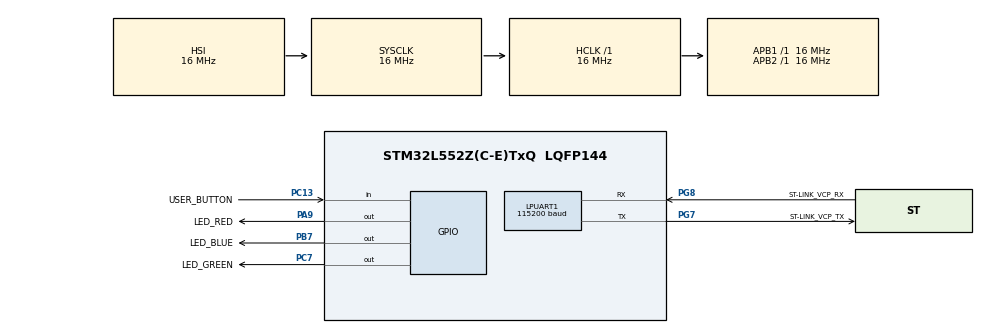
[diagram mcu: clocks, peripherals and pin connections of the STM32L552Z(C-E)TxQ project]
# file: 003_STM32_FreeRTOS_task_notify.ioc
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LPUART1.BaudRate=115200
Mcu.Family=STM32L5
Mcu.Name=STM32L552Z(C-E)TxQ
Mcu.Package=LQFP144
Mcu.TrustZone=disable
NVIC.PriorityGroup=NVIC_PRIORITYGROUP_3
PA13\ (JTMS/SWDIO).Mode=Trace_Asynchronous_SW
PA13\ (JTMS/SWDIO).Signal=DEBUG_JTMS-SWDIO
PA14\ (JTCK/SWCLK).Mode=Trace_Asynchronous_SW
PA14\ (JTCK/SWCLK).Signal=DEBUG_JTCK-SWCLK
PA9.GPIO_Label=LED_RED
PA9.Signal=GPIO_Output
PB3\ (JTDO/TRACESWO).Mode=Trace_Asynchronous_SW
PB3\ (JTDO/TRACESWO).Signal=DEBUG_JTDO-SWO
PB7.GPIO_Label=LED_BLUE
PB7.Signal=GPIO_Output
PC13.GPIO_Label=USER_BUTTON
PC13.Signal=GPIO_Input
PC14-OSC32_IN\ (PC14).Mode=LSE-External-Oscillator
PC14-OSC32_IN\ (PC14).Signal=RCC_OSC32_IN
PC15-OSC32_OUT\ (PC15).Mode=LSE-External-Oscillator
PC15-OSC32_OUT\ (PC15).Signal=RCC_OSC32_OUT
PC7.GPIO_Label=LED_GREEN
PC7.Signal=GPIO_Output
PG7.GPIO_Label=ST-LINK_VCP_TX
PG7.Mode=Asynchronous
PG7.Signal=LPUART1_TX
PG8.GPIO_Label=ST-LINK_VCP_RX
PG8.Mode=Asynchronous
PG8.Signal=LPUART1_RX
ProjectManager.HeapSize=0x200
ProjectManager.StackSize=0x400
ProjectManager.TargetToolchain=STM32CubeIDE
RCC.ADCCLockSelection=RCC_ADCCLKSOURCE_SYSCLK
RCC.ADCFreq_Value=16000000
RCC.AHBFreq_Value=16000000
RCC.APB1Freq_Value=16000000
RCC.APB1TimFreq_Value=16000000
RCC.APB2Freq_Value=16000000
RCC.APB2TimFreq_Value=16000000
RCC.CK48CLockSelection=RCC_USBCLKSOURCE_HSI48
RCC.CortexFreq_Value=16000000
RCC.HCLKFreq_Value=16000000
RCC.HSE_VALUE=8000000
RCC.HSI48_VALUE=48000000
RCC.HSI_VALUE=16000000
RCC.MSI_VALUE=4000000
RCC.PLLN=55
RCC.PLLSAI1N=24
RCC.RTCClockSelection=RCC_RTCCLKSOURCE_LSE
RCC.SYSCLKFreq_VALUE=16000000
RCC.SYSCLKSource=RCC_SYSCLKSOURCE_HSI
RCC.USBFreq_Value=48000000
RCC.VCOOutputFreq_Value=220000000
VP_PWR_VS_SECSignals.Mode=Security/Privilege
board=NUCLEO-L552ZE-Q

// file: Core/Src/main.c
/* USER CODE BEGIN Header */
/**
 ******************************************************************************
 * @file           : main.c
 * @brief          : Example 003: Led and button with task notifications
 *                   for NUCLEO-L552.
 *
 * @details TODO
 ******************************************************************************
 * @attention
 *
 * <h2><center>&copy; Copyright 2021 Leandro Medus.
 * All rights reserved.</center></h2>
 *
 * Permission is hereby granted, free of charge, to any person obtaining a copy
 * of this software and associated documentation files (the "Software"), to deal
 * in the Software without restriction, including without limitation the rights
 * to use, copy, modify, merge, publish, distribute, sublicense, and/or sell
 * copies of the Software, and to permit persons to whom the Software is
 * furnished to do so, subject to the following conditions:
 *
 * The above copyright notice and this permission notice shall be included in all
 * copies or substantial portions of the Software.
 *
 * THE SOFTWARE IS PROVIDED "AS IS", WITHOUT WARRANTY OF ANY KIND, EXPRESS OR
 * IMPLIED, INCLUDING BUT NOT LIMITED TO THE WARRANTIES OF MERCHANTABILITY,
 * FITNESS FOR A PARTICULAR PURPOSE AND NONINFRINGEMENT. IN NO EVENT SHALL THE
 * AUTHORS OR COPYRIGHT HOLDERS BE LIABLE FOR ANY CLAIM, DAMAGES OR OTHER
 * LIABILITY, WHETHER IN AN ACTION OF CONTRACT, TORT OR OTHERWISE, ARISING FROM,
 * OUT OF OR IN CONNECTION WITH THE SOFTWARE OR THE USE OR OTHER DEALINGS IN THE
 * SOFTWARE.
 *
 ******************************************************************************
 */

/*
 * Other useful functions:
 *
 *      SEGGER_SYSVIEW_PrintfTarget("Task-1 is yielding");
 *      snprintf(msg, 100, "%s\n", (char*)parameters);
 *      sendString(msg);
 *      traceISR_EXIT_TO_SCHEDULER();
 *      taskYIELD();

 * */

/* USER CODE END Header */
#include "main.h"

/* USER CODE BEGIN Includes */
#include "FreeRTOS.h"
#include "task.h"
#include <stdio.h>
#include <string.h>

#include <stdbool.h>
/* USER CODE END Includes */

/* USER CODE BEGIN PTD */
//#define TRUE                1
//#define FALSE               0

#define AVAILABLE           true
#define NOT_AVAILABLE       false

#define PRESSED             true
#define NOT_PRESSED         false

#define DEBOUNCE_DELAY_MS   10

#define DWT_CTRL    (*(volatile uint32_t*)0xE0001000)       /* Data Watchpoint and Trace Unit */
/* USER CODE END PTD */

UART_HandleTypeDef hlpuart1;

/* USER CODE BEGIN PV */
TaskHandle_t xTask_led_handle;
char usr_msg[250];
uint8_t UART_ACCESS_KEY = AVAILABLE;

uint8_t button_status_flag = NOT_PRESSED;
/* USER CODE END PV */

void SystemClock_Config(void);
static void MX_GPIO_Init(void);
static void MX_LPUART1_UART_Init(void);
/* USER CODE BEGIN PFP */
void sendString(char *msg);
void rtos_delay_ms(uint32_t delay_in_ms);
void rtos_delay_us(uint32_t delay_in_us);

static void vtask_led_handler(void* parameters);
static void vtask_button_handler(void* parameters);
/* USER CODE END PFP */

int main(void)
{
    /* USER CODE BEGIN 1 */
    BaseType_t status;

    char msg_program_init [] = "[info] ---- Example 003: Led and button with task notifications ----\r\n";

    /* USER CODE END 1 */

    /* MCU Configuration--------------------------------------------------------*/

    /* Reset of all peripherals, Initializes the Flash interface and the Systick. */
    HAL_Init();

    /* Configure the system clock */
    SystemClock_Config();

    /* Initialize all configured peripherals */
    MX_GPIO_Init();
    MX_LPUART1_UART_Init();
    /* USER CODE BEGIN 2 */

    DWT_CTRL |= ( 1 << 0);                  //Enable the CYCCNT counter. (to maintain time stamps in Segger)

    sendString(msg_program_init);

    SEGGER_SYSVIEW_Conf();

    SEGGER_SYSVIEW_Start();                 // Start recording with SEGGER

    status = xTaskCreate(
            vtask_led_handler,               // name of the task handler
            "LED-TASK",                     // descriptive name. (Could be NULL)
            configMINIMAL_STACK_SIZE,       // stack space ([words] = 4*words [bytes])
            "LED-Task [info]",              // pvParameters
            2,                              // priority of the task
            &xTask_led_handle);             // handler to the TCB (task controller block)

    configASSERT(status == pdPASS);

    status = xTaskCreate(
            vtask_button_handler,
            "BUTTON-TASK",
            configMINIMAL_STACK_SIZE,
            "BUTTON-Task [info]",
            2,
            NULL);

    configASSERT(status == pdPASS);

    vTaskStartScheduler();                  // start the freeRTOS scheduler
    /* USER CODE END 2 */

    /* Infinite loop */
    while (1)
    {

    }
}

void SystemClock_Config(void)
{
    RCC_OscInitTypeDef RCC_OscInitStruct = {0};
    RCC_ClkInitTypeDef RCC_ClkInitStruct = {0};

    /** Configure the main internal regulator output voltage
     */
    if (HAL_PWREx_ControlVoltageScaling(PWR_REGULATOR_VOLTAGE_SCALE2) != HAL_OK)
    {
        Error_Handler();
    }
    /** Initializes the RCC Oscillators according to the specified parameters
     * in the RCC_OscInitTypeDef structure.
     */
    RCC_OscInitStruct.OscillatorType = RCC_OSCILLATORTYPE_HSI;
    RCC_OscInitStruct.HSIState = RCC_HSI_ON;
    RCC_OscInitStruct.HSICalibrationValue = RCC_HSICALIBRATION_DEFAULT;
    RCC_OscInitStruct.PLL.PLLState = RCC_PLL_NONE;
    if (HAL_RCC_OscConfig(&RCC_OscInitStruct) != HAL_OK)
    {
        Error_Handler();
    }
    /** Initializes the CPU, AHB and APB buses clocks
     */
    RCC_ClkInitStruct.ClockType = RCC_CLOCKTYPE_HCLK|RCC_CLOCKTYPE_SYSCLK
            |RCC_CLOCKTYPE_PCLK1|RCC_CLOCKTYPE_PCLK2;
    RCC_ClkInitStruct.SYSCLKSource = RCC_SYSCLKSOURCE_HSI;
    RCC_ClkInitStruct.AHBCLKDivider = RCC_SYSCLK_DIV1;
    RCC_ClkInitStruct.APB1CLKDivider = RCC_HCLK_DIV1;
    RCC_ClkInitStruct.APB2CLKDivider = RCC_HCLK_DIV1;

    if (HAL_RCC_ClockConfig(&RCC_ClkInitStruct, FLASH_LATENCY_1) != HAL_OK)
    {
        Error_Handler();
    }
}

static void MX_LPUART1_UART_Init(void)
{

    hlpuart1.Instance = LPUART1;
    hlpuart1.Init.BaudRate = 115200;
    hlpuart1.Init.WordLength = UART_WORDLENGTH_8B;
    hlpuart1.Init.StopBits = UART_STOPBITS_1;
    hlpuart1.Init.Parity = UART_PARITY_NONE;
    hlpuart1.Init.Mode = UART_MODE_TX_RX;
    hlpuart1.Init.HwFlowCtl = UART_HWCONTROL_NONE;
    hlpuart1.Init.OneBitSampling = UART_ONE_BIT_SAMPLE_DISABLE;
    hlpuart1.Init.ClockPrescaler = UART_PRESCALER_DIV1;
    hlpuart1.AdvancedInit.AdvFeatureInit = UART_ADVFEATURE_NO_INIT;
    hlpuart1.FifoMode = UART_FIFOMODE_DISABLE;
    if (HAL_UART_Init(&hlpuart1) != HAL_OK)
    {
        Error_Handler();
    }
    if (HAL_UARTEx_SetTxFifoThreshold(&hlpuart1, UART_TXFIFO_THRESHOLD_1_8) != HAL_OK)
    {
        Error_Handler();
    }
    if (HAL_UARTEx_SetRxFifoThreshold(&hlpuart1, UART_RXFIFO_THRESHOLD_1_8) != HAL_OK)
    {
        Error_Handler();
    }
    if (HAL_UARTEx_DisableFifoMode(&hlpuart1) != HAL_OK)
    {
        Error_Handler();
    }

}

static void MX_GPIO_Init(void)
{
    GPIO_InitTypeDef GPIO_InitStruct = {0};

    /* GPIO Ports Clock Enable */
    __HAL_RCC_GPIOC_CLK_ENABLE();
    __HAL_RCC_GPIOG_CLK_ENABLE();
    HAL_PWREx_EnableVddIO2();
    __HAL_RCC_GPIOA_CLK_ENABLE();
    __HAL_RCC_GPIOB_CLK_ENABLE();

    /*Configure GPIO pin Output Level */
    HAL_GPIO_WritePin(LED_GREEN_GPIO_Port, LED_GREEN_Pin, GPIO_PIN_RESET);

    /*Configure GPIO pin Output Level */
    HAL_GPIO_WritePin(LED_RED_GPIO_Port, LED_RED_Pin, GPIO_PIN_RESET);

    /*Configure GPIO pin Output Level */
    HAL_GPIO_WritePin(LED_BLUE_GPIO_Port, LED_BLUE_Pin, GPIO_PIN_RESET);

    /*Configure GPIO pin : USER_BUTTON_Pin */
    GPIO_InitStruct.Pin = USER_BUTTON_Pin;
    GPIO_InitStruct.Mode = GPIO_MODE_INPUT;
    GPIO_InitStruct.Pull = GPIO_NOPULL;
    HAL_GPIO_Init(USER_BUTTON_GPIO_Port, &GPIO_InitStruct);

    /*Configure GPIO pin : LED_GREEN_Pin */
    GPIO_InitStruct.Pin = LED_GREEN_Pin;
    GPIO_InitStruct.Mode = GPIO_MODE_OUTPUT_PP;
    GPIO_InitStruct.Pull = GPIO_NOPULL;
    GPIO_InitStruct.Speed = GPIO_SPEED_FREQ_LOW;
    HAL_GPIO_Init(LED_GREEN_GPIO_Port, &GPIO_InitStruct);

    /*Configure GPIO pin : LED_RED_Pin */
    GPIO_InitStruct.Pin = LED_RED_Pin;
    GPIO_InitStruct.Mode = GPIO_MODE_OUTPUT_PP;
    GPIO_InitStruct.Pull = GPIO_NOPULL;
    GPIO_InitStruct.Speed = GPIO_SPEED_FREQ_LOW;
    HAL_GPIO_Init(LED_RED_GPIO_Port, &GPIO_InitStruct);

    /*Configure GPIO pin : LED_BLUE_Pin */
    GPIO_InitStruct.Pin = LED_BLUE_Pin;
    GPIO_InitStruct.Mode = GPIO_MODE_OUTPUT_PP;
    GPIO_InitStruct.Pull = GPIO_NOPULL;
    GPIO_InitStruct.Speed = GPIO_SPEED_FREQ_LOW;
    HAL_GPIO_Init(LED_BLUE_GPIO_Port, &GPIO_InitStruct);

}

/* USER CODE BEGIN 4 */

/* --------------------------------------------------------------------------*/

/**
 * @brief  This function send a string using the UART
 * @retval None
 */
void sendString(char *msg)
{
    sprintf(usr_msg, msg);

    // sending a string
    HAL_UART_Transmit(&hlpuart1, (uint8_t *) usr_msg, strlen(usr_msg), 100);
}

/**
 * @brief  FreeRTOS task: LED
 * @details Led Task should toogle led states after a notification is received.
 *
 * @retval None
 */
static void vtask_led_handler(void* parameters)
{

    uint32_t current_notification_value = 0;

    while(1)
    {

        //lets wait until we receive any notification event from button_Task
        if ( xTaskNotifyWait(0, 0, &current_notification_value, portMAX_DELAY) == pdTRUE )
        {
            //we received the notification . so lets toggle the LED
            HAL_GPIO_TogglePin(LED_GREEN_GPIO_Port, LED_GREEN_Pin);
            HAL_GPIO_TogglePin(LED_RED_GPIO_Port, LED_RED_Pin);
            HAL_GPIO_TogglePin(LED_BLUE_GPIO_Port, LED_BLUE_Pin);

            sprintf(usr_msg,"Notification is received : Button press count : %ld \r\n", current_notification_value);
            sendString(usr_msg);
        }
    }
}

/**
 * @brief  FreeRTOS task: BUTTON
 * @details Button Task should check the rising edge of the user button send a notification to the
 *          led task.
 *
 * @retval None
 */
static void vtask_button_handler(void* parameters)
{
    static bool lastState = false;

    while(1)
    {
        // rising edge detector logic with debouncing
        if( HAL_GPIO_ReadPin(USER_BUTTON_GPIO_Port, USER_BUTTON_Pin) && (lastState == false))
        {
            //lets send the notification to led_task
            xTaskNotify(xTask_led_handle, 0x0, eIncrement);

            lastState = true;

            rtos_delay_ms(DEBOUNCE_DELAY_MS);

        }else if( HAL_GPIO_ReadPin(USER_BUTTON_GPIO_Port, USER_BUTTON_Pin) == GPIO_PIN_RESET)
        {
            lastState = false;
            rtos_delay_ms(DEBOUNCE_DELAY_MS);
        }
        else
        {
            rtos_delay_ms (DEBOUNCE_DELAY_MS);
        }

    }
}

void rtos_delay_ms(uint32_t delay_in_ms)
{
    uint32_t current_tick_count = xTaskGetTickCount();

    uint32_t delay_in_ticks = (delay_in_ms * configTICK_RATE_HZ ) /1000 ;

    while(xTaskGetTickCount() <  (current_tick_count + delay_in_ticks));

}

void rtos_delay_us(uint32_t delay_in_us)
{
    uint32_t current_tick_count = xTaskGetTickCount();

    uint32_t delay_in_ticks = (delay_in_us * configTICK_RATE_HZ ) ;

    while(xTaskGetTickCount() <  (current_tick_count + delay_in_ticks));

}

/* --------------------------------------------------------------------------*/
/* USER CODE END 4 */

void Error_Handler(void)
{
    __disable_irq();
    while (1)
    {
    }
}

/************************ (C) COPYRIGHT STMicroelectronics *****END OF FILE****/
